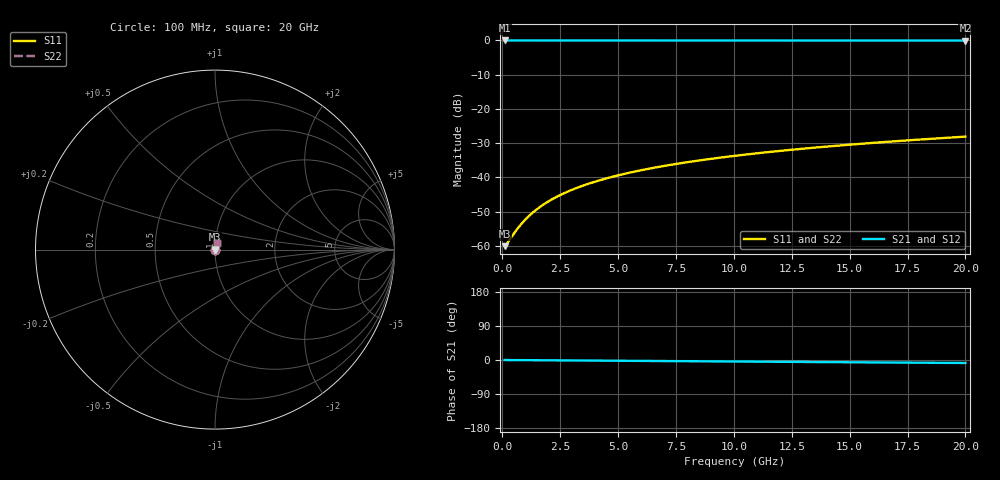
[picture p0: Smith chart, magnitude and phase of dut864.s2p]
! Touchstone file exported from HFSS 2026.1.0
!  File:  C:/ffzhzh/LocalFiles/Ansys_Project_Files/temp_train_TSV_864_1783185443_51560.aedt
!  Generated:  01:19:00 AM Jul  5, 2026
!  Design:  TSV
!  Project:  temp_train_TSV_864_1783185443_51560
! Variables:
!  h_bsmrdl = 2um
!  h_ox = 20um
!  h_rdl = 5um
!  h_sub = 81.16um
!  h_tmrdl = 5um
!  h_tsv = 81.16um
!  h_via = 3um
!  l_bsmrdl = 300um
!  l_sub = 406.28um
!  l_tmrdl = 200um
!  m_sub = 200um
!  pitch = 19.58um
!  r_tsv = 3.14um
!  s_tmrdl = 10um
!  w_bsmrdl = 18um
!  w_sub = 500um
!  w_tmrdl = 12um
!  x_tsv_center1 = 206um
!  x_tsv_center2 = 524um
!  x_tsv_center3 = 736um
!  x_tsv_center4 = 1054um
!  x_tsv_center5 = 1266um
!  x_tsv_center6 = 1584um
# GHz S MA R 50.000000
! Terminal data exported
! Port[1] = TSV1_1_T1
! Port[2] = TSV1_1_T2
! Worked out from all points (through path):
!   200 points, 100 MHz to 20 GHz, reference 50 ohm
!   highest |S21| = -0.01 dB at 100 MHz (marker M1); lowest = 0.0 dB at 20 GHz (marker M2)
!   group delay of S21, straight-line fit = 1.1 ps
!   lowest |S11| = -60.0 dB at 100 MHz (marker M3), VSWR 1.00, Z = 50.1 + j0.0236 ohm
!   |S11| at or under -10 dB: start of sweep to end of sweep
!   |S22| runs from -60.0 to -28.1 dB; largest |S21 - S12| = 4.3e-15
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0.1  0.0009949 13.7  0.999 -0.0  0.999 -0.0  0.0009949 13.7
! Gamma 0 0 0 0
! Port Impedance 50 0 50 0
0.2  0.001084 25.5  0.999 -0.1  0.999 -0.1  0.001084 25.5
0.6  0.001692 52.4  0.999 -0.2  0.999 -0.2  0.001692 52.4
0.8  0.002058 59.2  0.999 -0.3  0.999 -0.3  0.002058 59.2
1.1  0.002642 65.8  0.9989 -0.4  0.9989 -0.4  0.002642 65.8
1.3  0.003045 68.7  0.9989 -0.5  0.9989 -0.5  0.003045 68.7
1.5  0.003454 70.9  0.9989 -0.6  0.9989 -0.6  0.003454 70.9
1.9  0.004285 73.9  0.9989 -0.8  0.9989 -0.8  0.004285 73.9
2.1  0.004704 75.0  0.9988 -0.9  0.9988 -0.9  0.004704 75.0
2.4  0.005333 76.2  0.9988 -1.0  0.9988 -1.0  0.005333 76.2
2.9  0.006384 77.6  0.9987 -1.2  0.9987 -1.2  0.006384 77.6
3.5  0.00764 78.6  0.9987 -1.4  0.9987 -1.4  0.00764 78.6
4.2  0.009096 79.3  0.9985 -1.7  0.9985 -1.7  0.009096 79.3
5  0.01074 79.7  0.9984 -2.0  0.9984 -2.0  0.01074 79.7
5.9  0.01257 79.9  0.9982 -2.4  0.9982 -2.4  0.01257 79.9
6.8  0.01437 79.9  0.998 -2.7  0.998 -2.7  0.01437 79.9
8.3  0.01733 79.7  0.9978 -3.3  0.9978 -3.3  0.01733 79.7
10.1  0.02082 79.5  0.9974 -4.0  0.9974 -4.0  0.02082 79.5
11.7  0.02388 79.2  0.9971 -4.7  0.9971 -4.7  0.02388 79.2
13.4  0.02711 78.8  0.9969 -5.3  0.9969 -5.3  0.02711 78.8
16.7  0.03331 78.0  0.9963 -6.6  0.9963 -6.6  0.03331 78.0
20  0.03946 77.1  0.9958 -7.9  0.9958 -7.9  0.03946 77.1
